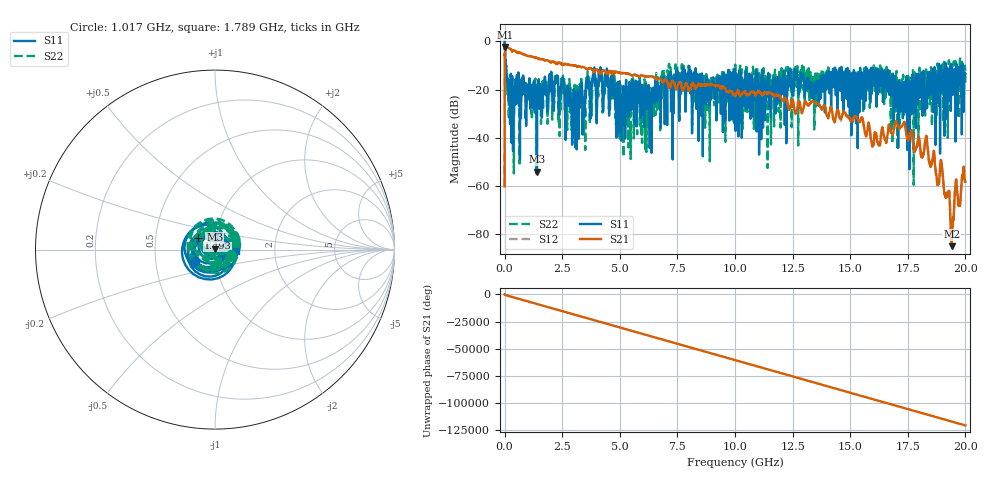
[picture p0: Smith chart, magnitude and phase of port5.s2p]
! MS46122B
! 2250307/22442219
! 2/19/2026 8:58:04 AM
! C:\USERS\SPARKY\DOCUMENTS\VNA_DATA\FEB19_2026\WARM2\PORT5.S2P
! CHANNEL.1
! TR.MEASUREMENT
! RAW.DATA
# GHZ S RI R 50.0
! FREQ.GHZ  S11RE  S11IM  S21RE  S21IM  S12RE  S12IM  S22RE  S22IM
!; PortSelection: Port_12
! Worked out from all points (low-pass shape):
!   10001 points, 1 MHz to 20 GHz, reference 50 ohm
!   highest |S21| = -2.26 dB at 33 MHz (marker M1); lowest = -85.1 dB at 19.4 GHz (marker M2)
!   |S21| within 3 dB of the highest: 19.19 MHz to 779.9 MHz (760.7 MHz wide, 190 % of centre); 806.3 MHz to 820.1 MHz (13.8 MHz wide, 1.7 % of centre) (the widest 2 of 3)
!   lowest |S11| = -54.2 dB at 1.405 GHz (marker M3), VSWR 1.00, Z = 49.8 + j0.0825 ohm
!   |S11| at or under -10 dB: 73.05 MHz to 18.85 GHz (18.78 GHz wide, 198 % of centre); 19.15 GHz to 19.4 GHz (253.1 MHz wide, 1.31 % of centre); 19.62 GHz to 19.88 GHz (252.9 MHz wide, 1.28 % of centre) (the widest 3 of 7)
!   |S22| runs from -59.6 to -0.2 dB; largest |S21 - S12| = 0.063
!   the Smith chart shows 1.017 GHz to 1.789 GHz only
!   S11 on the Smith chart (normalised r, x): 1.017 GHz: 0.80, -0.10; 1.493 GHz: 0.82, +0.10; 1.789 GHz: 1.26, -0.02
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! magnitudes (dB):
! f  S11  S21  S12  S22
! 1 MHz  0.4  -60.3  -60.3  -0.2
! 33 MHz  -8.4  -2.3  -2.6  -11.6
! 109 MHz  -15.1  -2.5  -2.6  -14.7
! 323 MHz  -15.1  -4.0  -4.0  -15.2
! 1.017 GHz  -17.9  -6.1  -6.0  -20.6
! 1.405 GHz  -54.2  -6.9  -6.9  -18.9
! 1.493 GHz  -18.9  -7.3  -7.2  -17.7
! 1.789 GHz  -18.7  -7.8  -7.7  -22.0
! 3.335 GHz  -19.3  -10.6  -10.7  -16.5
! 4.139 GHz  -13.9  -12.8  -12.9  -14.9
! 5.179 GHz  -22.0  -13.1  -13.2  -38.4
! 6.669 GHz  -19.7  -15.3  -15.3  -24.9
! 7.457 GHz  -11.8  -19.9  -19.8  -13.1
! 8.883 GHz  -22.1  -18.0  -17.9  -20.0
! 10 GHz  -12.1  -22.5  -22.6  -10.4
! 13.33 GHz  -17.2  -25.3  -25.1  -14.7
! 15.96 GHz  -12.1  -43.7  -43.8  -11.5
! 16.67 GHz  -12.9  -34.9  -35.0  -12.9
! 18.3 GHz  -19.3  -39.2  -39.4  -12.4
! 18.98 GHz  -19.1  -51.6  -52.1  -11.2
! 19.4 GHz  -9.7  -85.1  -83.8  -15.6
! 20 GHz  -13.5  -58.3  -58.8  -17.2
